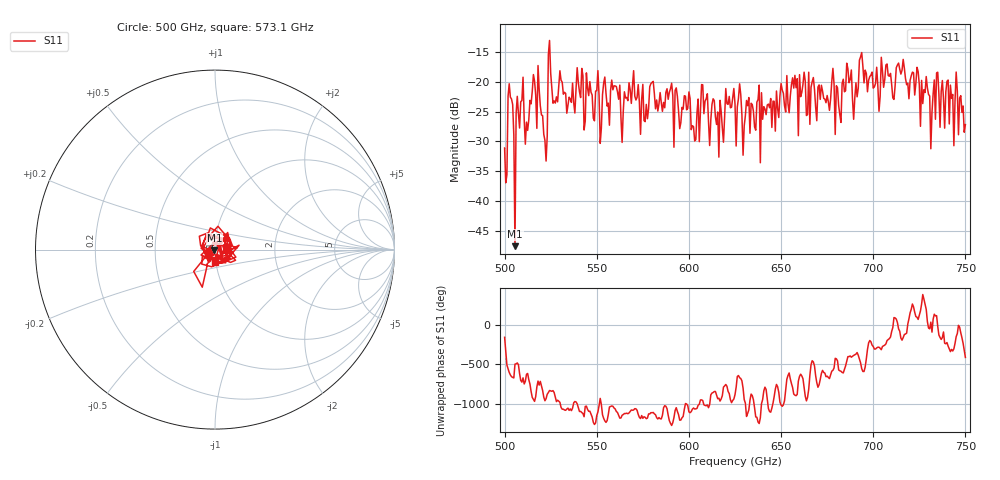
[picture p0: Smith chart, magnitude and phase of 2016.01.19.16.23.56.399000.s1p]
!Created with skrf (http://scikit-rf.org).
# GHz S RI R 50.0
!freq ReS11 ImS11
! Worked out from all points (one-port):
!   401 points, 500 GHz to 750 GHz, reference 50 ohm
!   lowest |S11| = -47.5 dB at 505.6 GHz (marker M1), VSWR 1.01, Z = 49.7 - j0.293 ohm
!   |S11| at or under -10 dB: start of sweep to end of sweep
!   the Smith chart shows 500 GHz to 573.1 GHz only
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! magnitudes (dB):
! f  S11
! 500 GHz  -31.1
! 503.1 GHz  -22.6
! 505.6 GHz  -47.5
! 508.8 GHz  -23.4
! 511.9 GHz  -26.8
! 516.9 GHz  -22.3
! 521.9 GHz  -29.8
! 525 GHz  -18.6
! 527.5 GHz  -23.6
! 531.2 GHz  -20.1
! 559.4 GHz  -20.7
! 562.5 GHz  -20.6
! 568.8 GHz  -23.6
! 576.9 GHz  -23.8
! 580 GHz  -20.1
! 593.8 GHz  -22.5
! 599.4 GHz  -24.5
! 602.5 GHz  -27.5
! 608.1 GHz  -25.4
! 617.5 GHz  -25.0
! 625 GHz  -23.7
! 640 GHz  -26.3
! 656.2 GHz  -19.4
! 680.6 GHz  -21.0
! 687.5 GHz  -19.6
! 718.8 GHz  -20.3
! 746.2 GHz  -28.9
! 750 GHz  -27.2
